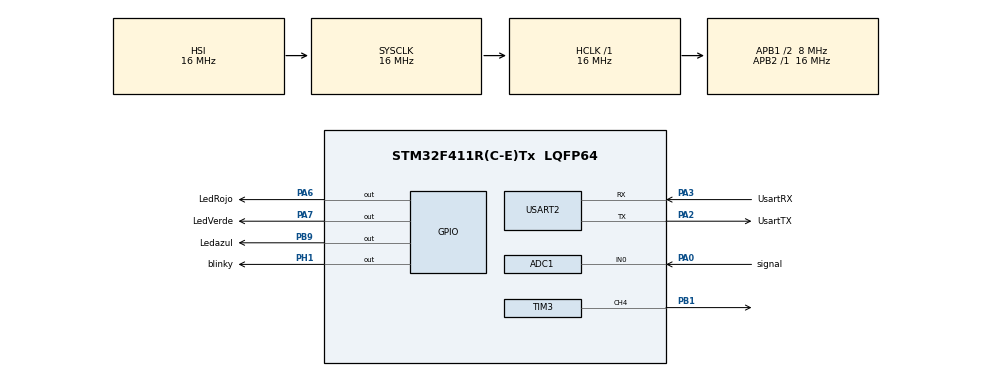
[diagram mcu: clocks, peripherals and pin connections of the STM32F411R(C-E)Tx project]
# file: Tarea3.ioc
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ADC1.Channel-1\#ChannelRegularConversion=ADC_CHANNEL_0
ADC1.DMAContinuousRequests=ENABLE
ADC1.ExternalTrigConv=ADC_EXTERNALTRIGCONV_T3_TRGO
ADC1.NbrOfConversionFlag=1
ADC1.Rank-1\#ChannelRegularConversion=1
ADC1.SamplingTime-1\#ChannelRegularConversion=ADC_SAMPLETIME_15CYCLES
ADC1.master=1
Dma.ADC1.2.Direction=DMA_PERIPH_TO_MEMORY
Dma.ADC1.2.FIFOMode=DMA_FIFOMODE_DISABLE
Dma.ADC1.2.Instance=DMA2_Stream0
Dma.ADC1.2.MemDataAlignment=DMA_MDATAALIGN_HALFWORD
Dma.ADC1.2.MemInc=DMA_MINC_ENABLE
Dma.ADC1.2.Mode=DMA_CIRCULAR
Dma.ADC1.2.PeriphDataAlignment=DMA_PDATAALIGN_HALFWORD
Dma.ADC1.2.PeriphInc=DMA_PINC_DISABLE
Dma.ADC1.2.Priority=DMA_PRIORITY_LOW
Dma.Request0=USART2_RX
Dma.Request1=USART2_TX
Dma.Request2=ADC1
Dma.USART2_RX.0.Direction=DMA_PERIPH_TO_MEMORY
Dma.USART2_RX.0.FIFOMode=DMA_FIFOMODE_DISABLE
Dma.USART2_RX.0.Instance=DMA1_Stream5
Dma.USART2_RX.0.MemDataAlignment=DMA_MDATAALIGN_BYTE
Dma.USART2_RX.0.MemInc=DMA_MINC_ENABLE
Dma.USART2_RX.0.Mode=DMA_NORMAL
Dma.USART2_RX.0.PeriphDataAlignment=DMA_PDATAALIGN_BYTE
Dma.USART2_RX.0.PeriphInc=DMA_PINC_DISABLE
Dma.USART2_RX.0.Priority=DMA_PRIORITY_LOW
Dma.USART2_TX.1.Direction=DMA_MEMORY_TO_PERIPH
Dma.USART2_TX.1.FIFOMode=DMA_FIFOMODE_DISABLE
Dma.USART2_TX.1.Instance=DMA1_Stream6
Dma.USART2_TX.1.MemDataAlignment=DMA_MDATAALIGN_BYTE
Dma.USART2_TX.1.MemInc=DMA_MINC_ENABLE
Dma.USART2_TX.1.Mode=DMA_NORMAL
Dma.USART2_TX.1.PeriphDataAlignment=DMA_PDATAALIGN_BYTE
Dma.USART2_TX.1.PeriphInc=DMA_PINC_DISABLE
Dma.USART2_TX.1.Priority=DMA_PRIORITY_LOW
Mcu.Family=STM32F4
Mcu.Name=STM32F411R(C-E)Tx
Mcu.Package=LQFP64
NVIC.DMA1_Stream5_IRQn=true\:0\:0\:false\:false\:true\:false\:true\:true
NVIC.DMA1_Stream6_IRQn=true\:0\:0\:false\:false\:true\:false\:true\:true
NVIC.DMA2_Stream0_IRQn=true\:0\:0\:false\:false\:true\:false\:true\:true
NVIC.PriorityGroup=NVIC_PRIORITYGROUP_0
NVIC.TIM2_IRQn=true\:0\:0\:false\:false\:true\:true\:true\:true
NVIC.USART2_IRQn=true\:0\:0\:false\:false\:true\:true\:true\:true
PA0-WKUP.GPIO_Label=signal
PA0-WKUP.Signal=ADCx_IN0
PA13.GPIO_Label=TMS
PA13.Mode=Serial_Wire
PA13.Signal=SYS_JTMS-SWDIO
PA14.GPIO_Label=TCK
PA14.Mode=Serial_Wire
PA14.Signal=SYS_JTCK-SWCLK
PA2.GPIO_Label=UsartTX
PA2.GPIO_ModeDefaultPP=GPIO_MODE_AF_PP
PA2.GPIO_PuPd=GPIO_NOPULL
PA2.GPIO_Speed=GPIO_SPEED_FREQ_VERY_HIGH
PA2.Mode=Asynchronous
PA2.Signal=USART2_TX
PA3.GPIO_Label=UsartRX
PA3.GPIO_ModeDefaultPP=GPIO_MODE_AF_PP
PA3.GPIO_PuPd=GPIO_NOPULL
PA3.GPIO_Speed=GPIO_SPEED_FREQ_VERY_HIGH
PA3.Mode=Asynchronous
PA3.Signal=USART2_RX
PA6.GPIO_Label=LedRojo
PA6.GPIO_Speed=GPIO_SPEED_FREQ_MEDIUM
PA6.Signal=GPIO_Output
PA7.GPIO_Label=LedVerde
PA7.GPIO_Speed=GPIO_SPEED_FREQ_MEDIUM
PA7.Signal=GPIO_Output
PB1.Signal=S_TIM3_CH4
PB3.GPIO_Label=SWO
PB3.Signal=SYS_JTDO-SWO
PB9.GPIO_Label=Ledazul
PB9.GPIO_Speed=GPIO_SPEED_FREQ_MEDIUM
PB9.Signal=GPIO_Output
PH1\ -\ OSC_OUT.GPIO_Label=blinky
PH1\ -\ OSC_OUT.GPIO_Speed=GPIO_SPEED_FREQ_MEDIUM
PH1\ -\ OSC_OUT.Signal=GPIO_Output
ProjectManager.HeapSize=0x200
ProjectManager.StackSize=0x400
ProjectManager.TargetToolchain=STM32CubeIDE
RCC.48MHZClocksFreq_Value=84000000
RCC.AHBFreq_Value=16000000
RCC.APB1CLKDivider=RCC_HCLK_DIV2
RCC.APB1Freq_Value=8000000
RCC.APB1TimFreq_Value=16000000
RCC.APB2Freq_Value=16000000
RCC.APB2TimFreq_Value=16000000
RCC.CortexFreq_Value=16000000
RCC.FLatency-AdvancedSettings=FLASH_LATENCY_0
RCC.HCLKFreq_Value=16000000
RCC.HSE_VALUE=8000000
RCC.HSI_VALUE=16000000
RCC.LSE_VALUE=32768
RCC.PLLN=336
RCC.PLLP=RCC_PLLP_DIV4
RCC.SYSCLKFreq_VALUE=16000000
RCC.VCOOutputFreq_Value=336000000
SH.ADCx_IN0.0=ADC1_IN0,IN0
SH.S_TIM3_CH4.0=TIM3_CH4,PWM Generation4 CH4
TIM2.AutoReloadPreload=TIM_AUTORELOAD_PRELOAD_ENABLE
TIM2.Period=250-1
TIM2.Prescaler=16000-1
TIM3.AutoReloadPreload=TIM_AUTORELOAD_PRELOAD_ENABLE
TIM3.Channel-PWM\ Generation4\ CH4=TIM_CHANNEL_4
TIM3.Period=362
TIM3.TIM_MasterOutputTrigger=TIM_TRGO_UPDATE
TIM3.TIM_MasterSlaveMode=TIM_MASTERSLAVEMODE_ENABLE
USART2.VirtualMode=VM_ASYNC
VP_TIM2_VS_ClockSourceINT.Mode=Internal
VP_TIM3_VS_ClockSourceINT.Mode=Internal
board=NUCLEO-F411RE

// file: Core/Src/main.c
/* USER CODE BEGIN Header */
/**
  ******************************************************************************
  * @file           : main.c
  * @brief          : Main program body
  ******************************************************************************
  * @attention
  *
  * Copyright (c) 2025 STMicroelectronics.
  * All rights reserved.
  *
  * This software is licensed under terms that can be found in the LICENSE file
  * in the root directory of this software component.
  * If no LICENSE file comes with this software, it is provided AS-IS.
  *
  ******************************************************************************
  */
/* USER CODE END Header */
#include "main.h"

/* USER CODE BEGIN Includes */
#define ARM_MATH_CM4
#include "arm_math.h"
/* USER CODE END Includes */

/* USER CODE BEGIN PD */
//Definimos la variable que nos indica el tamano de los buffer recibidos
#define UART_RX_BUFFER_SIZE 64
//Definimos el tamano del buffer donde se va a almacenar el menu
#define MENU_BUFFER_SIZE 1150
//Definimos el tamano del buffer donde almacenaremos los valores de la senal
#define ADC_BUFFER_SIZE 2048
//DEfinimos la resolucion del ADC
#define ADC_RESOLUTION  12
//Definimos el numero maximo de valores para el ADC
#define ADC_MAX_VALUE ((1 << ADC_RESOLUTION) - 1)
//Creamos un Epsilon de tolerancia de caracter float
#define EPSILON 0.01f
/* USER CODE END PD */

ADC_HandleTypeDef hadc1;
DMA_HandleTypeDef hdma_adc1;

TIM_HandleTypeDef htim2;
TIM_HandleTypeDef htim3;

UART_HandleTypeDef huart2;
DMA_HandleTypeDef hdma_usart2_rx;
DMA_HandleTypeDef hdma_usart2_tx;

/* USER CODE BEGIN PV */
//Inicializamos la variable que almacena el estado actual de la maquina
estadoActual fsm ={0};
//Definimos una tabla con los comandos y funciones posibles
const comando_t tablaComandos[]={
		{"blinky", 	frecBlinky},
		{"led", 			ledRGB},
		{"muestreo", tiempoMuestreo},
		{"tamanoFFT",		tamanoFFT},
		{"senalADC", imprimirADC},
		{"equipo", imprimirConf},
		{"espectroFFT", imprimirFFT},
		{"principalFFT", importantesFFT},
		{"help", help},
};
//Guardamos el numero de comandos en una variable
const int numeroComandos = sizeof (tablaComandos)/sizeof (comando_t);

//Creamos las variables donde se van a guardar los buffer utilizando
//el metodo ping pong
typedef enum{
	bufferA,
	bufferB
}bufferActivo;

//Creamos los buffer a y b
uint8_t rx_buffer_a [UART_RX_BUFFER_SIZE]={0};
uint8_t rx_buffer_b [UART_RX_BUFFER_SIZE]={0};

//Creamos una estructura donde se almacena los datos correspondientes al
//buffer activo
typedef struct{
	uint8_t* buffer;
	uint16_t size;
}DataPacket;

//Inicializamos la estructura DataPacket con el buffer vacío y el tamano
//igual a 0
volatile DataPacket data_ready_packet ={.buffer= NULL, .size=0};
//Inicializamos la variable del buffer activo con el buffer a
volatile bufferActivo dma_buffer_activo = bufferA;

//Creamos la variable donde almacenaremos el menu inicial
char menu_display_buffer[MENU_BUFFER_SIZE];

//Inicializamos la variable que guarda el periodo del blinky
int periodo_ms =250;
//Inicializamos la variable donde almacenaremos el periodo del Timer3
int periodoTimer3 = 362;
//Inicializamos la variable donde guardaremos el valor de la frecuencia de muestreo
float frecMuestreo =44.1;
//Inicializamos la variable donde almacenaremos el tamano de la FFT
int puntosFFT = 1024;
//Creamos el arreglo donde se van a almacenar los valores de la senal
volatile uint16_t adc_dma_buffer [ADC_BUFFER_SIZE];

//Bandera para avisar que el buffer de ADC está listo
uint8_t adc_data_ready = 0;
//Variable donde se guardara el adc convertido a float
uint16_t adc_raw_buffer[ADC_BUFFER_SIZE];
//Variable donde se almacena la senal normalizada
float32_t dsp_input_buffer[ADC_BUFFER_SIZE];
//Variable donde vamos a almacenar los puntos de salida de la fft
float32_t fft_output_buffer[ADC_BUFFER_SIZE/2];
//Variable donde almacenamos la instancia con la cual realizaremos la FFT
arm_rfft_fast_instance_f32 rfft_instance;
//Variable donde almacenamos las magnitudes
float32_t fft_magnitudes[ADC_BUFFER_SIZE / 2];
//Creamos la variable que va a almacenar la magnitud mayor
float32_t max_magnitude;
//Indice donde se encuentra la frecuencia dominante
uint32_t  max_magnitude_index;
//Periodo del timer3 en segundos
float segTimer3;

//UART/DMA externos
extern UART_HandleTypeDef huart2;
extern DMA_HandleTypeDef hdma_usart2_rx;
extern DMA_HandleTypeDef hdma_usart2_tx;

//Extern ADC y Timer
extern ADC_HandleTypeDef hadc1;
extern TIM_HandleTypeDef htim3;

/* USER CODE END PV */

void SystemClock_Config(void);
static void MX_GPIO_Init(void);
static void MX_DMA_Init(void);
static void MX_USART2_UART_Init(void);
static void MX_TIM2_Init(void);
static void MX_TIM3_Init(void);
static void MX_ADC1_Init(void);
/* USER CODE BEGIN PFP */
//Funcion que analiza el comando recibido
void analizarComando (uint8_t* buffer, uint16_t size);
//Funcion que despacha el comando
void despacharComando (comandoID_t id, char* comando, char* params);
//Funcion para encontrar el comando que el usuario envió
comandoID_t encontrarComandoid (const char* comando_str);
//Funcion para imprimir el menu de opciones
void menuComandos (char* params);

//Funciones dentro del despacho de comandos
//Funcion para cambiar el periodo del blinky
void periodoBlinky (char* params);
//Funcion para encender o apagar un led del RGB
void estadoRGB (char* params);
//Funcion para configurar el tiempo de muestreo
void configurarMuestreo(char* params);
//Funcion para configurar el tamano de la FFT
void configurarTamanoFFT (char* params);
//Funcion para imprimir la senal ADC
void printADC(void);
//Funcion para imprimir las configuraciones del equipo
void printConf(void);
//Funcion para imprimir la FFT
void printFFT(void);
//Funcion para imprimir los valores mas importantes de la FFT
void printImportantes(void);
//Funcion para cacular la FFT
void calculoFFT (void);
//Funcion para configurar el periodo del TIM3
void configurarTIM3 (void);
//Funcion maquina de estados
void maquinaEstados (void);

/* USER CODE END PFP */

int main(void)
{

  /* MCU Configuration--------------------------------------------------------*/

  /* Reset of all peripherals, Initializes the Flash interface and the Systick. */
  HAL_Init();

  /* Configure the system clock */
  SystemClock_Config();

  /* Initialize all configured peripherals */
  MX_GPIO_Init();
  MX_DMA_Init();
  MX_USART2_UART_Init();
  MX_TIM2_Init();
  MX_TIM3_Init();
  MX_ADC1_Init();
  /* USER CODE BEGIN 2 */
  //Inicializamos el timer 2 y sus interrupciones
  HAL_TIM_Base_Start_IT(&htim2);
  //Inicializamos el Timer3 (sin interrupciones)
  HAL_TIM_Base_Start(&htim3);
  //Inicializamos el PWM
  HAL_TIM_PWM_Start(&htim3, TIM_CHANNEL_4);

  //Imprimimos el menu de comandos
  menuComandos(menu_display_buffer);
  //Inicializamos el buffer activo
  dma_buffer_activo= bufferA;
  //Comenzamos la recepcion del comando
  HAL_UARTEx_ReceiveToIdle_DMA(&huart2, rx_buffer_a, UART_RX_BUFFER_SIZE);
  //Inicializamos el ADC
  HAL_ADC_Start_DMA(&hadc1, (uint32_t *)adc_dma_buffer, ADC_BUFFER_SIZE);
  //Llamamos la instancia con el tamaño de la FFT inicial
  arm_rfft_fast_init_f32(&rfft_instance,puntosFFT);

  /* USER CODE END 2 */

  /* Infinite loop */
  /* USER CODE BEGIN WHILE */
  while (1)
  {
	  if(fsm.estado != IDLE){
		  maquinaEstados();
	  }
    /* USER CODE END WHILE */

  }
}

void SystemClock_Config(void)
{
  RCC_OscInitTypeDef RCC_OscInitStruct = {0};
  RCC_ClkInitTypeDef RCC_ClkInitStruct = {0};

  /** Configure the main internal regulator output voltage
  */
  __HAL_RCC_PWR_CLK_ENABLE();
  __HAL_PWR_VOLTAGESCALING_CONFIG(PWR_REGULATOR_VOLTAGE_SCALE1);

  /** Initializes the RCC Oscillators according to the specified parameters
  * in the RCC_OscInitTypeDef structure.
  */
  RCC_OscInitStruct.OscillatorType = RCC_OSCILLATORTYPE_HSI;
  RCC_OscInitStruct.HSIState = RCC_HSI_ON;
  RCC_OscInitStruct.HSICalibrationValue = RCC_HSICALIBRATION_DEFAULT;
  RCC_OscInitStruct.PLL.PLLState = RCC_PLL_NONE;
  if (HAL_RCC_OscConfig(&RCC_OscInitStruct) != HAL_OK)
  {
    Error_Handler();
  }

  /** Initializes the CPU, AHB and APB buses clocks
  */
  RCC_ClkInitStruct.ClockType = RCC_CLOCKTYPE_HCLK|RCC_CLOCKTYPE_SYSCLK
                              |RCC_CLOCKTYPE_PCLK1|RCC_CLOCKTYPE_PCLK2;
  RCC_ClkInitStruct.SYSCLKSource = RCC_SYSCLKSOURCE_HSI;
  RCC_ClkInitStruct.AHBCLKDivider = RCC_SYSCLK_DIV1;
  RCC_ClkInitStruct.APB1CLKDivider = RCC_HCLK_DIV2;
  RCC_ClkInitStruct.APB2CLKDivider = RCC_HCLK_DIV1;

  if (HAL_RCC_ClockConfig(&RCC_ClkInitStruct, FLASH_LATENCY_0) != HAL_OK)
  {
    Error_Handler();
  }
}

static void MX_ADC1_Init(void)
{

  ADC_ChannelConfTypeDef sConfig = {0};

  /** Configure the global features of the ADC (Clock, Resolution, Data Alignment and number of conversion)
  */
  hadc1.Instance = ADC1;
  hadc1.Init.ClockPrescaler = ADC_CLOCK_SYNC_PCLK_DIV2;
  hadc1.Init.Resolution = ADC_RESOLUTION_12B;
  hadc1.Init.ScanConvMode = DISABLE;
  hadc1.Init.ContinuousConvMode = DISABLE;
  hadc1.Init.DiscontinuousConvMode = DISABLE;
  hadc1.Init.ExternalTrigConvEdge = ADC_EXTERNALTRIGCONVEDGE_RISING;
  hadc1.Init.ExternalTrigConv = ADC_EXTERNALTRIGCONV_T3_TRGO;
  hadc1.Init.DataAlign = ADC_DATAALIGN_RIGHT;
  hadc1.Init.NbrOfConversion = 1;
  hadc1.Init.DMAContinuousRequests = ENABLE;
  hadc1.Init.EOCSelection = ADC_EOC_SINGLE_CONV;
  if (HAL_ADC_Init(&hadc1) != HAL_OK)
  {
    Error_Handler();
  }

  /** Configure for the selected ADC regular channel its corresponding rank in the sequencer and its sample time.
  */
  sConfig.Channel = ADC_CHANNEL_0;
  sConfig.Rank = 1;
  sConfig.SamplingTime = ADC_SAMPLETIME_15CYCLES;
  if (HAL_ADC_ConfigChannel(&hadc1, &sConfig) != HAL_OK)
  {
    Error_Handler();
  }

}

static void MX_TIM2_Init(void)
{

  TIM_ClockConfigTypeDef sClockSourceConfig = {0};
  TIM_MasterConfigTypeDef sMasterConfig = {0};

  htim2.Instance = TIM2;
  htim2.Init.Prescaler = 16000-1;
  htim2.Init.CounterMode = TIM_COUNTERMODE_UP;
  htim2.Init.Period = 250-1;
  htim2.Init.ClockDivision = TIM_CLOCKDIVISION_DIV1;
  htim2.Init.AutoReloadPreload = TIM_AUTORELOAD_PRELOAD_ENABLE;
  if (HAL_TIM_Base_Init(&htim2) != HAL_OK)
  {
    Error_Handler();
  }
  sClockSourceConfig.ClockSource = TIM_CLOCKSOURCE_INTERNAL;
  if (HAL_TIM_ConfigClockSource(&htim2, &sClockSourceConfig) != HAL_OK)
  {
    Error_Handler();
  }
  sMasterConfig.MasterOutputTrigger = TIM_TRGO_RESET;
  sMasterConfig.MasterSlaveMode = TIM_MASTERSLAVEMODE_DISABLE;
  if (HAL_TIMEx_MasterConfigSynchronization(&htim2, &sMasterConfig) != HAL_OK)
  {
    Error_Handler();
  }

}

static void MX_TIM3_Init(void)
{

  TIM_ClockConfigTypeDef sClockSourceConfig = {0};
  TIM_MasterConfigTypeDef sMasterConfig = {0};
  TIM_OC_InitTypeDef sConfigOC = {0};

  htim3.Instance = TIM3;
  htim3.Init.Prescaler = 0;
  htim3.Init.CounterMode = TIM_COUNTERMODE_UP;
  htim3.Init.Period = 362;
  htim3.Init.ClockDivision = TIM_CLOCKDIVISION_DIV1;
  htim3.Init.AutoReloadPreload = TIM_AUTORELOAD_PRELOAD_ENABLE;
  if (HAL_TIM_Base_Init(&htim3) != HAL_OK)
  {
    Error_Handler();
  }
  sClockSourceConfig.ClockSource = TIM_CLOCKSOURCE_INTERNAL;
  if (HAL_TIM_ConfigClockSource(&htim3, &sClockSourceConfig) != HAL_OK)
  {
    Error_Handler();
  }
  if (HAL_TIM_PWM_Init(&htim3) != HAL_OK)
  {
    Error_Handler();
  }
  sMasterConfig.MasterOutputTrigger = TIM_TRGO_UPDATE;
  sMasterConfig.MasterSlaveMode = TIM_MASTERSLAVEMODE_ENABLE;
  if (HAL_TIMEx_MasterConfigSynchronization(&htim3, &sMasterConfig) != HAL_OK)
  {
    Error_Handler();
  }
  sConfigOC.OCMode = TIM_OCMODE_PWM1;
  sConfigOC.Pulse = 0;
  sConfigOC.OCPolarity = TIM_OCPOLARITY_HIGH;
  sConfigOC.OCFastMode = TIM_OCFAST_DISABLE;
  if (HAL_TIM_PWM_ConfigChannel(&htim3, &sConfigOC, TIM_CHANNEL_4) != HAL_OK)
  {
    Error_Handler();
  }
  HAL_TIM_MspPostInit(&htim3);

}

static void MX_USART2_UART_Init(void)
{

  huart2.Instance = USART2;
  huart2.Init.BaudRate = 115200;
  huart2.Init.WordLength = UART_WORDLENGTH_8B;
  huart2.Init.StopBits = UART_STOPBITS_1;
  huart2.Init.Parity = UART_PARITY_NONE;
  huart2.Init.Mode = UART_MODE_TX_RX;
  huart2.Init.HwFlowCtl = UART_HWCONTROL_NONE;
  huart2.Init.OverSampling = UART_OVERSAMPLING_16;
  if (HAL_UART_Init(&huart2) != HAL_OK)
  {
    Error_Handler();
  }

}

static void MX_DMA_Init(void)
{

  /* DMA controller clock enable */
  __HAL_RCC_DMA1_CLK_ENABLE();
  __HAL_RCC_DMA2_CLK_ENABLE();

  /* DMA interrupt init */
  /* DMA1_Stream5_IRQn interrupt configuration */
  HAL_NVIC_SetPriority(DMA1_Stream5_IRQn, 0, 0);
  HAL_NVIC_EnableIRQ(DMA1_Stream5_IRQn);
  /* DMA1_Stream6_IRQn interrupt configuration */
  HAL_NVIC_SetPriority(DMA1_Stream6_IRQn, 0, 0);
  HAL_NVIC_EnableIRQ(DMA1_Stream6_IRQn);
  /* DMA2_Stream0_IRQn interrupt configuration */
  HAL_NVIC_SetPriority(DMA2_Stream0_IRQn, 0, 0);
  HAL_NVIC_EnableIRQ(DMA2_Stream0_IRQn);

}

static void MX_GPIO_Init(void)
{
  GPIO_InitTypeDef GPIO_InitStruct = {0};

  /* GPIO Ports Clock Enable */
  __HAL_RCC_GPIOH_CLK_ENABLE();
  __HAL_RCC_GPIOA_CLK_ENABLE();
  __HAL_RCC_GPIOB_CLK_ENABLE();

  /*Configure GPIO pin Output Level */
  HAL_GPIO_WritePin(blinky_GPIO_Port, blinky_Pin, GPIO_PIN_RESET);

  /*Configure GPIO pin Output Level */
  HAL_GPIO_WritePin(GPIOA, LedRojo_Pin|LedVerde_Pin, GPIO_PIN_RESET);

  /*Configure GPIO pin Output Level */
  HAL_GPIO_WritePin(Ledazul_GPIO_Port, Ledazul_Pin, GPIO_PIN_RESET);

  /*Configure GPIO pin : blinky_Pin */
  GPIO_InitStruct.Pin = blinky_Pin;
  GPIO_InitStruct.Mode = GPIO_MODE_OUTPUT_PP;
  GPIO_InitStruct.Pull = GPIO_NOPULL;
  GPIO_InitStruct.Speed = GPIO_SPEED_FREQ_MEDIUM;
  HAL_GPIO_Init(blinky_GPIO_Port, &GPIO_InitStruct);

  /*Configure GPIO pins : LedRojo_Pin LedVerde_Pin */
  GPIO_InitStruct.Pin = LedRojo_Pin|LedVerde_Pin;
  GPIO_InitStruct.Mode = GPIO_MODE_OUTPUT_PP;
  GPIO_InitStruct.Pull = GPIO_NOPULL;
  GPIO_InitStruct.Speed = GPIO_SPEED_FREQ_MEDIUM;
  HAL_GPIO_Init(GPIOA, &GPIO_InitStruct);

  /*Configure GPIO pin : Ledazul_Pin */
  GPIO_InitStruct.Pin = Ledazul_Pin;
  GPIO_InitStruct.Mode = GPIO_MODE_OUTPUT_PP;
  GPIO_InitStruct.Pull = GPIO_NOPULL;
  GPIO_InitStruct.Speed = GPIO_SPEED_FREQ_MEDIUM;
  HAL_GPIO_Init(Ledazul_GPIO_Port, &GPIO_InitStruct);

}

/* USER CODE BEGIN 4 */
//Funcion de maquinaEstados
void maquinaEstados (void){
	switch (fsm.estado){
	case blinky:{
        // Hacemos un Toggle al blinky
        HAL_GPIO_TogglePin(blinky_GPIO_Port, blinky_Pin);
        //Volvemos al estado de recibir mensaje
        fsm.estado = mensaje;
		break;
	}
	case mensaje:{
		  //Nos seguramos de que el buffer tenga un tamano distinto de 0
		  if (data_ready_packet.size >0){
			  //Creamos una variable auxiliar donde guardamos el valor del buffer
			  uint8_t* proc_buffer = 0;
			  //Creamos una variable auxiliar donde guardamos el valor del tamano del buffer
			  uint16_t proc_size=0;
			  //Asignamos los valores correspondientes a cada variable
			  proc_buffer = data_ready_packet.buffer;
			  proc_size = data_ready_packet.size;

			  //Borramos lo guardado en las variables globales para que no se acumulen los datos recibidos
			  data_ready_packet.buffer = NULL;
			  data_ready_packet.size =0;

			  //Procesamos los datos usando estas copias locales de forma segura
			  analizarComando(proc_buffer, proc_size);
		  }
		break;
	}
	case IDLE:{
		break;
	}
	default:{
		__NOP();
		break;
	}
	}
}
//Funcion para imprimir el menu inicial
void menuComandos (char* params){
	//Limpiamos el buffer
	memset (menu_display_buffer, 0, MENU_BUFFER_SIZE);
	//Creamos el string para el menu
	int offset =0;
	// Header
	    offset += snprintf(menu_display_buffer + offset, MENU_BUFFER_SIZE - offset,
	                       "| %-15s| %-65s| %-24s|\r\n", "Comando", "Descripcion", "Formato");

	    // Comandos con sus respectivas descripciones
	    offset += snprintf(menu_display_buffer + offset, MENU_BUFFER_SIZE - offset,
	                       "| %-15s| %-65s| %-24s|\r\n", "led", "Controla los led RGB con la funcion Toggle", "led <color>");
	    offset += snprintf(menu_display_buffer + offset, MENU_BUFFER_SIZE - offset,
	                       "| %-15s| %-65s| %-24s|\r\n", "blinky", "Configura el periodo del blinky", "blinky <periodo en ms>");
	    offset += snprintf(menu_display_buffer + offset, MENU_BUFFER_SIZE - offset,
	                       "| %-15s| %-65s| %-24s|\r\n", "muestreo", "Configura el tiempo de muestreo (44.1kHz,48kHz, 96kHz, 128kHz)", "muestreo <valor>");
	    offset += snprintf(menu_display_buffer + offset, MENU_BUFFER_SIZE - offset,
	                       "| %-15s| %-65s| %-24s|\r\n", "tamanoFFT", "Configura el tamano de la FFT (1024, 2048)", "tamanoFFT <tamano>");
	    offset += snprintf(menu_display_buffer + offset, MENU_BUFFER_SIZE - offset,
	                       "| %-15s| %-65s| %-24s|\r\n", "senalADC", "Imprime la senal ADC muestreada", "senalADC");
	    offset += snprintf(menu_display_buffer + offset, MENU_BUFFER_SIZE - offset,
	                       "| %-15s| %-65s| %-24s|\r\n", "equipo", "Imprime la configuracion del equipo", "equipo");
	    offset += snprintf(menu_display_buffer + offset, MENU_BUFFER_SIZE - offset,
	                       "| %-15s| %-65s| %-24s|\r\n", "espectroFFT", "Imprime el espectro FFT de la senal", "espectroFFT");
	    offset += snprintf(menu_display_buffer + offset, MENU_BUFFER_SIZE - offset,
	                       "| %-15s| %-66s| %-24s|\r\n", "principalFFT", "Imprime los valores más importantes de la FFT", "principalFFT");
	    offset += snprintf(menu_display_buffer + offset, MENU_BUFFER_SIZE - offset,
	                       "| %-15s| %-65s| %-24s|\r\n", "help", "Imprime el menu de comandos", "help");

	    // Transmitimos el menu a traves de la DMA
	    //Nos aseguramos de que no estemos transmitiendo otro buffer a traves de la DMA
	    if (huart2.gState == HAL_UART_STATE_READY) {
	    	//Transmitimos el menu
	        HAL_UART_Transmit_DMA(&huart2, (uint8_t*)menu_display_buffer, strlen(menu_display_buffer));
	    } else {
	        //Creamos un char donde almacenamos el mensaje de buffer ocupado
	        char busy_msg[] = "UART ocupado. Intenta 'help'.\r\n";
	        HAL_UART_Transmit_DMA(&huart2, (uint8_t*)busy_msg, strlen(busy_msg));
	    }

}
//Funcion para analizar el comando recibido
void analizarComando (uint8_t* buffer, uint16_t size){
	//Nos preguntamos si el tamano de la entrada es mayor al asignado inicialmente
	if (size >= UART_RX_BUFFER_SIZE){
		//Nos aseguramos de que el ultimo caracter sea el nulo
		buffer [UART_RX_BUFFER_SIZE-1]='\0';
	} else{
		//Nos aseguramos de que el ultimo caracter sea nulo
		buffer[size]='\0';
	}
	//Usamos strok para extraer el comando y los parametros
	//obtenemos el comando
	char* comando_str = strtok ((char*)buffer, " ");
	//Obtenemos el resto de strings como parametros
	char* params = strtok  (NULL, " ");
	//Preguntamos si tenemos parametros para aquellas entradas sin parametros
	if (params == NULL){
		//Limpiamos el comando_str en caso de que tenga \r y \n
		comando_str[strcspn(comando_str, "\r\n")] = 0;
	}

	//Preguntamos si el comando esta vacio no hacemos nada
	if (comando_str==NULL){
		return;
	}

	//Debemos identificar el comando que estamos utilizando
	comandoID_t id =encontrarComandoid (comando_str);
	//Enviamos el comando a la maquina de estados
	despacharComando(id, comando_str, params);
}

//Funcion para encontrar el comando recibido
comandoID_t encontrarComandoid (const char* comando_str){
	for (int i =0; i< numeroComandos; i++){
		//Utilizamos la funcion strcmp que compara bit a bit el comando
		//ingresado con cada uno de los disponibles en la tabla
		if (strcmp (comando_str, tablaComandos[i].comando_str)==0){
			return tablaComandos[i].comando_id;
		}
	}
	//Si no coincide con ninguno entonces se retorna el estado de
	//comandoDesconocido
	return comandoDesconocido;
}
//Funcion para enviar el comando
void despacharComando (comandoID_t id, char* comando, char* params){
	switch (id){
	case frecBlinky:{
		periodoBlinky(params);
		break;
	}
	case ledRGB:{
		estadoRGB (params);
		break;
	}
	case tiempoMuestreo:{
		configurarMuestreo(params);
		break;
	}
	case tamanoFFT:{
		configurarTamanoFFT (params);
		break;
	}
	case imprimirADC:{
		printADC();
		break;
	}
	case imprimirConf:{
		printConf();
		break;
	}
	case imprimirFFT:{
		printFFT();
		break;
	}
	case importantesFFT:{
		printImportantes();
		break;
	}
	case help:{
		menuComandos (NULL);
		break;
	}
	case comandoDesconocido:{
        //Creamos un char donde almacenamos el mensaje de comando incorrecto
        char incorrect_msg[30] = "Comando desconocido \r\n";
        HAL_UART_Transmit(&huart2, (uint8_t*)incorrect_msg, strlen(incorrect_msg), 1000);
		break;
	}
	default:{
		__NOP();
		break;
	}
	}
}
//Funcion para configurar el periodo del blinky
void periodoBlinky (char* params){
	/*char debug_buffer[64];
	snprintf(debug_buffer, sizeof(debug_buffer), "DEBUG param: '%s'\r\n", params);
	HAL_UART_Transmit(&huart2, (uint8_t*)debug_buffer, strlen(debug_buffer), HAL_MAX_DELAY);*/
	//Creamos un buffer auxiliar
	char tx_buffer[88];
	//Preguntamos si los parametros estan nulos
	if (params ==NULL){
		//Guardamos en nuestro nuevo buffer el mensaje de que no hay periodo
		sprintf( tx_buffer,"No se encontró periodo para el blinky, Escribe blinky <periodo en ms> \r\n");
		//Transmitimos el mensaje
		HAL_UART_Transmit(&huart2, (uint8_t *)tx_buffer, strlen(tx_buffer), 1000);
		return;
	}
	//Convertimos el periodo dado por el usuario en un numero entero
	periodo_ms = atoi (params);
	//Preguntamos si el valor del periodo es menor o igual que 0
	if (periodo_ms <=0){
		//Guardamos el mensaje de periodo invalido en el buffer auxiliar
		sprintf (tx_buffer, "Periodo inválido. Debe ser mayor que 0\r\n");
		HAL_UART_Transmit(&huart2,(uint8_t *) tx_buffer, strlen(tx_buffer), 1000);
		return;
	}
	//Apagamos del TIMER2
	HAL_TIM_Base_Stop_IT(&htim2);
	//Modificamos el periodo del Timer
	htim2.Init.Period = periodo_ms;
	//Guardamos las nuevas configuraciones
	HAL_TIM_Base_Init(&htim2);
	// Encendemos nuevamente el Timer
	HAL_TIM_Base_Start_IT(&htim2);

}
//Funcion para encender o apagar un led del RGB
void estadoRGB (char* params){
	//Creamos un buffer para transmitir los mensajes en caso de error
	char tx_buffer[65];
	//Preguntamos si params es nulo
	if (params ==NULL){
		//Mensaje para decirle al usuario que la forma de su comando está incorrecta
		sprintf(tx_buffer, "No se encontraron los parámetros. Escribe 'led <color>'");
		//Imprimimos el mensaje
		HAL_UART_Transmit(&huart2, (uint8_t*) tx_buffer, strlen(tx_buffer), 1000);
		return;
	}
	//Creamos una variable auxiliar donde almacenamos el color que escribio el usuario
	char* color_str = strtok ((char*)params, "\r\n");
	//Preguntamos si color_str es igual a alguno de los colores disponibles
	if (strcmp (color_str, "rojo")==0){
		//Cuando es igual a rojo entonces invertimos el estado del led rojo
		HAL_GPIO_TogglePin(LedRojo_GPIO_Port, LedRojo_Pin);
	}
	else if (strcmp(color_str, "azul")==0){
		//Cuando e sigual a azul invertimos el estado del led azul
		HAL_GPIO_TogglePin(Ledazul_GPIO_Port, Ledazul_Pin);
	}
	else if (strcmp(color_str, "verde")==0){
		//Cuando es igual a verde invertimos el estado del led verde
		HAL_GPIO_TogglePin(LedVerde_GPIO_Port, LedVerde_Pin);
	}
	else {
		//Si lo escrito no coincide con ningun color entonces imprimimos el mensaje de error
		sprintf(tx_buffer, "Color no reconocido\r\n");
		//Imprimimos el mensaje
		HAL_UART_Transmit_DMA(&huart2, (uint8_t*) tx_buffer, strlen(tx_buffer));
	}
}
//Funcion para configurar el tiempo de muestreo
void configurarMuestreo(char* params){
	//Asignamos una posicion de memoria al caracter que no se pueda convertir a float
	char *endptr;
	//Le asignamos un valor nulo a esa posicion de memoria
	endptr = NULL;
	//Convertimos el parametro a un float
	frecMuestreo = strtof (params, &endptr);
	if (fabsf(frecMuestreo-44.1f)<EPSILON){
		configurarTIM3();
	}
	else if(frecMuestreo== 48){
		configurarTIM3();
	}
	else if (frecMuestreo== 96){
		configurarTIM3();
	}
	else if (frecMuestreo== 128){
		configurarTIM3();
	}
	else {
		//Creamos un buffer auxiliar para el mensaje de error
		char tx_buffer[88];
		//Guardamos el mensaje de valor de frecuencia invalido
		sprintf (tx_buffer, "Frecuencia invalida\r\n");
		HAL_UART_Transmit(&huart2,(uint8_t *) tx_buffer, strlen(tx_buffer), 1000);
	}
}

//Funcion para configurar el periodo del timer3
void configurarTIM3 (void){
	//Hallamos el valor del periodo que debe tener el timer3 para esa frecuencia de muestreo
	periodoTimer3 = 16000/frecMuestreo;
	//Apagamos del TIMER3
	HAL_TIM_Base_Stop(&htim3);
	//Modificamos el periodo del Timer
	htim2.Init.Period = periodoTimer3;
	//Guardamos las nuevas configuraciones
	HAL_TIM_Base_Init(&htim3);
	// Encendemos nuevamente el Timer
	HAL_TIM_Base_Start_IT(&htim3);
}
//Funcion para configurar el tamano de la FFT
void configurarTamanoFFT (char* params){
	//Definimos los puntosFFT mediante los parametros
	puntosFFT = atoi(params);
	if (puntosFFT== 1024){
		arm_rfft_fast_init_f32(&rfft_instance,puntosFFT);
	}
	else if (puntosFFT== 2048){
		arm_rfft_fast_init_f32(&rfft_instance,puntosFFT);
	}
	else{
		char tx_buffer [30];
		sprintf (tx_buffer, "Valor de tamano no aceptado\r\n");
		HAL_UART_Transmit_DMA(&huart2, (uint8_t*) tx_buffer, strlen(tx_buffer));
	}

}
//Funcion para imprimir la senal ADC
void printADC(void){
	//Preguntamos si el buffer del ADC esta listo
	 if (adc_data_ready== 1){
		 //Creamos una variable auxiliar con la cual guardamos lo que esta en el buffer en otro formato
		 char tx_line_buffer[20];
		 //Ciclo for para almcanear cada uno de los valores
		 for (uint16_t i = 0; i < ADC_BUFFER_SIZE; i++) {
			 //Asignamos los valores del adc_dma_buffer al tx_line_buffer en formato de entero sin signo
			 sprintf(tx_line_buffer, "%u\n", adc_dma_buffer[i]);
			 //Imprimios los valores del tx_line_buffer
			 HAL_UART_Transmit_DMA(&huart2,(uint8_t*) tx_line_buffer, strlen(tx_line_buffer));
		 }
		 //Bajamos la bandera
		 adc_data_ready =0;
	 }
	 else{
		 __NOP();
	 }
}
//Funcion para imprimir las configuraciones del equipo
void printConf(void){
	segTimer3 = periodoTimer3/16;
	//Creamos un buffer auxiliar
	char tx_buffer[100];
	//Almacenamos la frecuencia dominante
	sprintf (tx_buffer, "Frecuencia de muestreo %.3f Hz\r\n", frecMuestreo);
	//Imprimimos por primera vez
	HAL_UART_Transmit(&huart2,(uint8_t *)tx_buffer, strlen(tx_buffer), 1000);
	//Almacenamos la magnitud de la frecuencia
	sprintf (tx_buffer, "Tamano de la FFT %u \r\n", puntosFFT);
	//Imprimimos por segunda vez
	HAL_UART_Transmit(&huart2,(uint8_t *)tx_buffer, strlen(tx_buffer), 1000);
	//Almacenamos el valor del ARR
	sprintf (tx_buffer, "ARR %u\r\n", periodoTimer3);
	//Imprimimos por tercera vez
	HAL_UART_Transmit(&huart2,(uint8_t *)tx_buffer, strlen(tx_buffer), 1000);
	//Almacenamos el valor del periodo del timer en s
	sprintf (tx_buffer, "Periodo del TIM3 en us %.6f\r\n", segTimer3);
	//Imprimimos por cuarta vez
	HAL_UART_Transmit(&huart2,(uint8_t *)tx_buffer, strlen(tx_buffer), 1000);

}
//Funcion para imprimir la FFT
void printFFT(void){
	//Llamamos a la funcion que calcula la fft
	calculoFFT();
	//Creamos una variable auxiliar donde se van a almacenar los datos de la fft en forma entero sin signo
	 char tx_line_buffer[32];
	 //Ciclo for para guardar cada uno de los elementos del fft_output_buffer al tx_line_buffer
	 for (uint16_t i = 0; i < puntosFFT/2; i++) {
		 //Funcion para hacer las asignaciones correspondientes
		 int aux = sprintf(tx_line_buffer, "%.3f\n", fft_magnitudes[i]);
		 HAL_UART_Transmit_DMA(&huart2,(uint8_t*) tx_line_buffer, aux);
	 }

}
//Funcion para calcular la FFT
void calculoFFT(void){
	//Creamos un factor de conversion
    const float32_t conversion_factor = 1.0f / ADC_MAX_VALUE;
    for (int i = 0; i < ADC_BUFFER_SIZE; i++) {
        // Normalizamos los valores del adc_dma_buffer
        dsp_input_buffer[i] = ((float32_t)adc_dma_buffer[i]) * conversion_factor;
    }
	//Funcion para hallar la fft del input del ADC
	arm_rfft_fast_f32(&rfft_instance, dsp_input_buffer,fft_output_buffer,0);
	//Funcion para hallar las magnitudes de la fft
	arm_cmplx_mag_f32(fft_output_buffer,fft_magnitudes, (puntosFFT / 2));
}

//Funcion para imprimir los valores mas importantes de la FFT
void printImportantes(void){
	//Llamamos a la funcion que calcula la fft
	calculoFFT();
	//Creamos un buffer auxiliar
	char tx_buffer[40];
	//Hallamos la frecuencia principal
	arm_max_f32(&fft_magnitudes[1],(puntosFFT/2) - 1, &max_magnitude,&max_magnitude_index);
	max_magnitude_index = max_magnitude_index + 1;
	//Calculamos la frecuencia de resolucion
    float frequency_resolution = 1000*frecMuestreo / (puntosFFT);
    //Encontramos la frecuencia dominante
    float dominant_frequency = max_magnitude_index * frequency_resolution;
    //Guardamos en el tx_buffer el valor de la frecuencia dominante
    sprintf(tx_buffer, "Frecuencia dominante: %.3f Hz\n", dominant_frequency);
    HAL_UART_Transmit(&huart2,(uint8_t *)tx_buffer, strlen(tx_buffer), 1000);
    sprintf(tx_buffer, "Magnitud: %.2f\r\n\n", max_magnitude);
    HAL_UART_Transmit(&huart2,(uint8_t *)tx_buffer, strlen(tx_buffer), 1000);
}

//Llamamos al callback para la transmision por DMA
void HAL_UART_TxCpltCallback(UART_HandleTypeDef *huart){
	//Nos aseguramos de que es el USART2 el que esta haciendo la interrupcion
	if (huart->Instance == USART2){
	}
}
//Llamamos al callback para la recepcion del comando
void HAL_UARTEx_RxEventCallback(UART_HandleTypeDef *huart, uint16_t Size){
	//Nos aseguramos de que estamos usando el USART2
	if (huart->Instance ==USART2){
		//Preguntamos si estamos en el bufferA
		if (dma_buffer_activo==bufferA){
			//Guardamos el buffer recibido en el buffer_a
			data_ready_packet.buffer = rx_buffer_a;
			//Guardamos el tamano del buffer
			data_ready_packet.size = Size;
			//Pasamos al buffer B
			dma_buffer_activo= bufferB;
			HAL_UARTEx_ReceiveToIdle_DMA(&huart2, rx_buffer_b, UART_RX_BUFFER_SIZE);
		}
		//Si el buffer se encuentra en el bufferb
		else {
			//Guardamos el buffer recibido en el buffer_a
			data_ready_packet.buffer = rx_buffer_b;
			//Guardamos el tamano del buffer
			data_ready_packet.size = Size;
			//Pasamos al buffer A
			dma_buffer_activo= bufferA;
			HAL_UARTEx_ReceiveToIdle_DMA(&huart2, rx_buffer_a, UART_RX_BUFFER_SIZE);
		}
		//Cambiamos de estado a recibir mensaje
		fsm.estado = mensaje;
	}
}
//Llamamos el callback para el blinky
void HAL_TIM_PeriodElapsedCallback(TIM_HandleTypeDef *htim){
	// Nos aseguramos de que sea el TIMER2 el que haga la interrupcion
    if (htim->Instance == TIM2){
    	//Cambiamos de estado a blinky
    	fsm.estado = blinky;
    }
}
void HAL_ADC_ConvCpltCallback(ADC_HandleTypeDef* hadc){
	//Activamos la bandera que nos dice que el buffer esta lleno
	adc_data_ready= 1;
}
//Llamamos la funcion ErrorCallback en caso de que suceda un error
void HAL_UART_ErrorCallback(UART_HandleTypeDef *huart) {
    // Por ejemplo: reiniciar la recepción si hubo error
    if (huart->Instance == USART2) {
        if (dma_buffer_activo == bufferA) {
            HAL_UARTEx_ReceiveToIdle_DMA(&huart2, rx_buffer_a, UART_RX_BUFFER_SIZE);
        } else {
            HAL_UARTEx_ReceiveToIdle_DMA(&huart2, rx_buffer_b, UART_RX_BUFFER_SIZE);
        }
    }
}

/* USER CODE END 4 */

void Error_Handler(void)
{
  __disable_irq();
  while (1)
  {
  }
}
